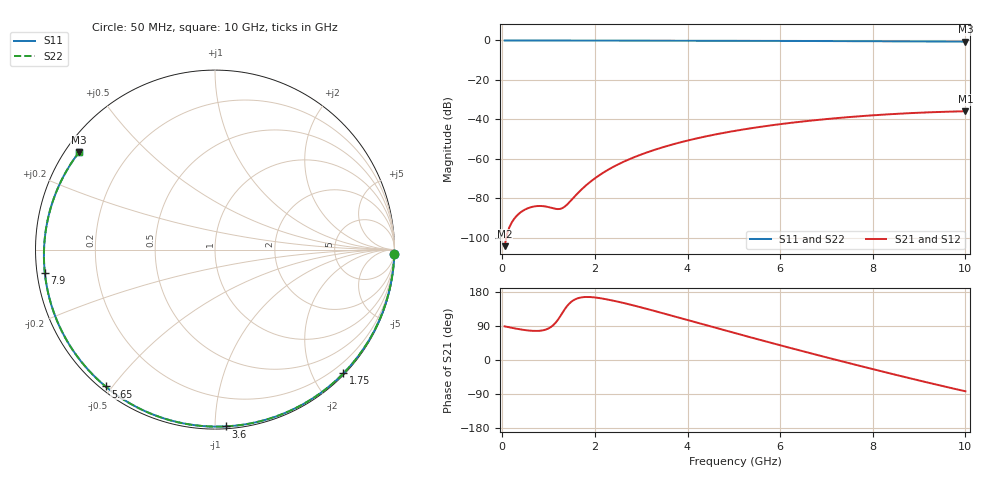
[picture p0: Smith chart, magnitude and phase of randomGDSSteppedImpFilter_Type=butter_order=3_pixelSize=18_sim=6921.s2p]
! freq	dB(S11)	phase(S11)	dB(S12)	phase(S12)
!  dB(S21)	phase(S21)	dB(S22)	phase(S22)
!S-par simulation data
#  GHz  S  DB  R 50
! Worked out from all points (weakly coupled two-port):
!   200 points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, 50 MHz to 10 GHz, reference 50 ohm
!   highest |S21| = -35.91 dB at 10 GHz (marker M1); lowest = -104.3 dB at 50 MHz (marker M2)
!   lowest |S11| = -0.6 dB at 10 GHz (marker M3), VSWR 28.36, Z = 1.94 + j16 ohm
!   |S11| at or under -10 dB: nowhere
!   |S22| runs from -0.6 to 0.0 dB; largest |S21 - S12| = 0
!   S11 on the Smith chart (normalised r, x): 50 MHz: 1, -92; 1.75 GHz: 0.02, -2.48; 3.6 GHz: 0.01, -1.06; 5.65 GHz: 0.01, -0.48; 7.9 GHz: 0.02, -0.07; 10 GHz: 0.04, +0.32
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0.05  -0.00 -1.3  -104.34 88.7  -104.34 88.7  -0.00 -1.3
0.4  -0.02 -10.2  -87.10 80.6  -87.10 80.6  -0.02 -10.2
0.75  -0.02 -19.1  -84.01 76.7  -84.01 76.7  -0.03 -19.1
1.1  -0.04 -27.9  -85.13 91.9  -85.13 91.9  -0.04 -27.9
1.5  -0.05 -37.9  -80.76 154.6  -80.76 154.6  -0.05 -37.9
1.55  -0.05 -39.1  -79.47 158.7  -79.47 158.7  -0.05 -39.1
1.75  -0.06 -44.0  -74.72 165.9  -74.72 165.9  -0.06 -44.0
2.05  -0.07 -51.2  -69.10 164.3  -69.10 164.3  -0.07 -51.2
2.45  -0.08 -60.6  -63.46 155.2  -63.46 155.2  -0.08 -60.6
2.9  -0.09 -71.0  -58.73 142.0  -58.73 142.0  -0.09 -71.0
3.4  -0.11 -82.1  -54.64 125.7  -54.64 125.7  -0.11 -82.2
3.6  -0.11 -86.5  -53.25 119.0  -53.25 119.0  -0.11 -86.5
4.3  -0.14 -101.4  -49.14 95.4  -49.14 95.4  -0.14 -101.4
5.05  -0.18 -116.7  -45.74 70.2  -45.74 70.2  -0.18 -116.7
5.65  -0.21 -128.6  -43.56 50.3  -43.56 50.3  -0.21 -128.6
6.2  -0.24 -139.3  -41.88 32.4  -41.88 32.4  -0.24 -139.3
6.7  -0.28 -149.0  -40.57 16.4  -40.57 16.4  -0.28 -149.0
7.3  -0.33 -160.5  -39.23 -2.5  -39.23 -2.5  -0.33 -160.5
7.9  -0.38 -172.2  -38.13 -21.0  -38.13 -21.0  -0.38 -172.2
8.35  -0.43 178.9  -37.44 -34.7  -37.44 -34.7  -0.43 178.9
9.2  -0.52 161.6  -36.46 -59.9  -36.46 -59.9  -0.52 161.6
10  -0.61 144.4  -35.91 -82.5  -35.91 -82.5  -0.61 144.4
